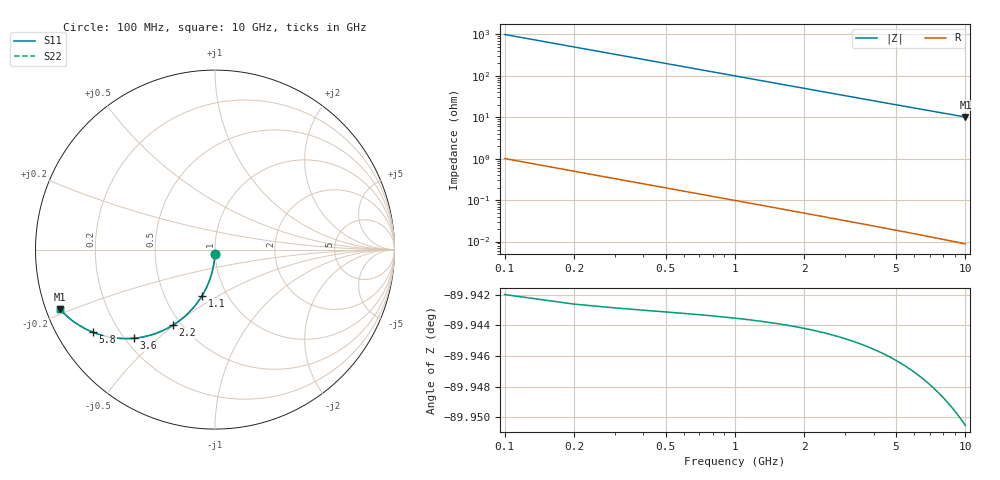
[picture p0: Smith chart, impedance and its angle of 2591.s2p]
# Hz S RI R 50.00
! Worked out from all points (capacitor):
!   100 points, 100 MHz to 10 GHz, reference 50 ohm
!   read as one part in shunt: C = 1.6 pF near 100 MHz
!   lowest |Z| = 10.1 ohm at 10 GHz (marker M1)
!   S11 on the Smith chart (normalised r, x): 100 MHz: 1.00, -0.05; 1.1 GHz: 0.77, -0.42; 2.2 GHz: 0.45, -0.50; 3.6 GHz: 0.24, -0.42; 5.8 GHz: 0.11, -0.30; 10 GHz: 0.04, -0.19
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1e8  -0.000601 -0.025  0.9993 -0.0252  0.9993 -0.0252  -0.000601 -0.025
2e8  -0.00252 -0.05  0.9974 -0.0504  0.9974 -0.0504  -0.00252 -0.05
3e8  -0.00568 -0.0748  0.9942 -0.0753  0.9942 -0.0753  -0.00568 -0.0748
4e8  -0.0101 -0.0992  0.9898 -0.1  0.9898 -0.1  -0.0101 -0.0992
5e8  -0.0156 -0.1233  0.9842 -0.1243  0.9842 -0.1243  -0.0156 -0.1233
6e8  -0.0224 -0.147  0.9775 -0.1481  0.9775 -0.1481  -0.0224 -0.147
7e8  -0.0302 -0.1701  0.9697 -0.1714  0.9697 -0.1714  -0.0302 -0.1701
9e8  -0.0489 -0.2144  0.951 -0.2162  0.951 -0.2162  -0.0489 -0.2144
1.1e9  -0.0713 -0.2559  0.9286 -0.258  0.9286 -0.258  -0.0713 -0.2559
1.4e9  -0.1105 -0.3118  0.8893 -0.3145  0.8893 -0.3145  -0.1105 -0.3118
1.8e9  -0.1704 -0.3738  0.8295 -0.3772  0.8295 -0.3772  -0.1704 -0.3738
2.2e9  -0.2347 -0.4212  0.7652 -0.4254  0.7652 -0.4254  -0.2347 -0.4212
2.8e9  -0.3317 -0.4677  0.6681 -0.473  0.6681 -0.473  -0.3317 -0.4677
3.4e9  -0.4226 -0.4902  0.5773 -0.4967  0.5773 -0.4967  -0.4226 -0.4902
3.6e9  -0.4507 -0.4936  0.5492 -0.5005  0.5492 -0.5005  -0.4507 -0.4936
4.3e9  -0.5392 -0.4938  0.4606 -0.5021  0.4606 -0.5021  -0.5392 -0.4938
5.1e9  -0.6221 -0.4794  0.3777 -0.4892  0.3777 -0.4892  -0.6221 -0.4794
5.8e9  -0.6805 -0.4602  0.3193 -0.4713  0.3193 -0.4713  -0.6805 -0.4602
6.7e9  -0.7398 -0.4317  0.26 -0.4446  0.26 -0.4446  -0.7398 -0.4317
7.5e9  -0.7809 -0.4058  0.2188 -0.4203  0.2188 -0.4203  -0.7809 -0.4058
8.4e9  -0.8174 -0.3776  0.1824 -0.3939  0.1824 -0.3939  -0.8174 -0.3776
1e10  -0.8641 -0.3323  0.1356 -0.3518  0.1356 -0.3518  -0.8641 -0.3323
